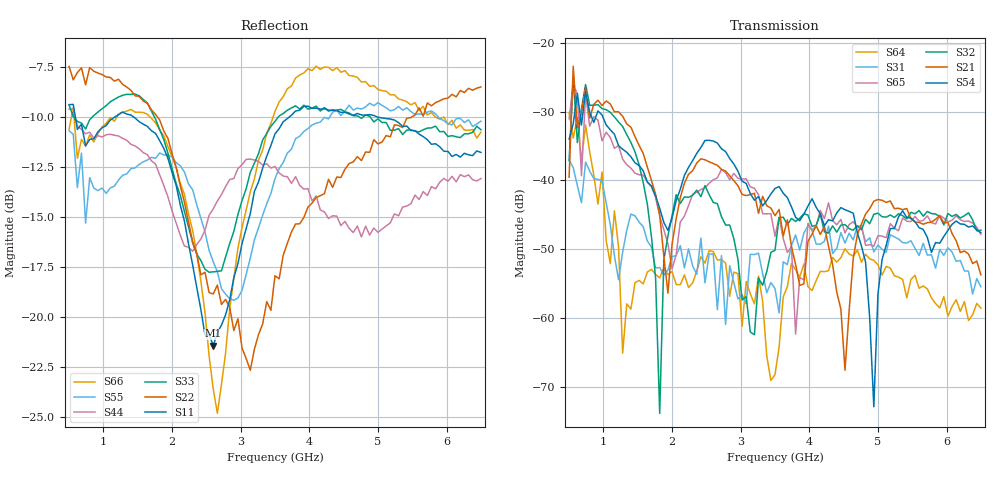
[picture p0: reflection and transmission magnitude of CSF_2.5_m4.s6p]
!Keysight Technologies,M9804A,MY58100912,A.14.10.03
!Date: Thursday, April 27, 2023 10:28:33
!Correction: S11(C  6-Port  )
!S12(C  6-Port  )
!S13(C  6-Port  )
!S14(C  6-Port  )
!S15(C  6-Port  )
!S16(C  6-Port  )
!S21(C  6-Port  )
!S22(C  6-Port  )
!S23(C  6-Port  )
!S24(C  6-Port  )
!S25(C  6-Port  )
!S26(C  6-Port  )
!S31(C  6-Port  )
!S32(C  6-Port  )
!S33(C  6-Port  )
!S34(C  6-Port  )
!S35(C  6-Port  )
!S36(C  6-Port  )
!S41(C  6-Port  )
!S42(C  6-Port  )
!S43(C  6-Port  )
!S44(C  6-Port  )
!S45(C  6-Port  )
!S46(C  6-Port  )
!S51(C  6-Port  )
!S52(C  6-Port  )
!S53(C  6-Port  )
!S54(C  6-Port  )
!S55(C  6-Port  )
!S56(C  6-Port  )
!S61(C  6-Port  )
!S62(C  6-Port  )
!S63(C  6-Port  )
!S64(C  6-Port  )
!S65(C  6-Port  )
!S66(C  6-Port  )
!S6P File: Measurement: :
# Hz S  RI  R 50
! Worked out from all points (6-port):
!   101 points, 500 MHz to 6.5 GHz, reference 50 ohm
!   strongest paths, dB at 500 MHz, 2 GHz, 3.5 GHz, 5 GHz, 6.5 GHz:
!     S54: -34.0, -45.5, -41.2, -56.5, -47.6
!     S21: -39.5, -49.3, -45.1, -42.8, -53.7
!     S32: -37.1, -45.1, -50.1, -44.8, -47.2
!     S65: -31.1, -52.9, -48.1, -48.0, -47.8
!     S31: -37.0, -51.1, -55.7, -49.4, -55.4
!     S64: -30.1, -53.2, -68.2, -52.2, -58.5
!   lowest |S11| = -21.4 dB at 2.6 GHz (marker M1), VSWR 1.19, Z = 42.5 + j2.2 ohm
!   |S11| at or under -10 dB: 589.2 MHz to 1.175 GHz (586.2 MHz wide, 66.4 % of centre); 1.433 GHz to 3.716 GHz (2.284 GHz wide, 88.7 % of centre); 4.978 GHz to end of sweep
